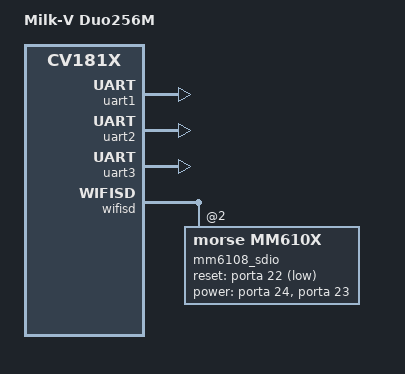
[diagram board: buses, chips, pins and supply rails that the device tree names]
/dts-v1/;
#include "cv181x_base_riscv.dtsi"
#include "cv181x_asic_qfn.dtsi"
#include "cv181x_asic_sd.dtsi"
#include "cv181x_default_memmap.dtsi"

/ {
	model = "Milk-V Duo256M";
};

&mipi_rx {
	snsr-reset = <&portc 17 GPIO_ACTIVE_LOW>, <&portc 17 GPIO_ACTIVE_LOW>, <&portc 17 GPIO_ACTIVE_LOW>;
};

&i2c0 {
	status = "disabled";
};

&i2c4 {
	status = "disabled";
};

&spi2 {
	status = "disabled";

	/delete-node/ spidev@0;

	spi-sram@0 {
		#address-cells = <1>;
		#size-cells = <1>;
		compatible = "microchip,mchp23lcv1024";
		reg = <0>;
		spi-max-frequency = <20000000>;
	};
};

&dac {
	mute-gpio-r = <&porte 1 GPIO_ACTIVE_LOW>;
};

&uart1 {
	status = "okay";
};

&uart2 {
	status = "okay";
};

&uart3 {
	status = "okay";
};

&wifisd {
	cap-sd-highspeed;
	cap-mmc-highspeed;
	non-removable;
	disable-wp;
	cap-sdio-irq;

	status = "okay";

	mm6108_sdio: mm6108_sdio@0 {
		compatible = "morse,mm610x";
		reset-gpios = <&porta 22 GPIO_ACTIVE_LOW>;
		power-gpios = <&porta 24 GPIO_ACTIVE_HIGH>, <&porta 23 GPIO_ACTIVE_HIGH>;
		status = "okay";
		reg = <2>;
		bus-width = <4>;
	};
};

&wifi_pin {
	compatible = "cvitek,wifi-pin";
/*	poweron-gpio = <&porta 22 GPIO_ACTIVE_LOW>;*/
	wakeup-gpio = <&porta 24 GPIO_ACTIVE_HIGH>;
};
